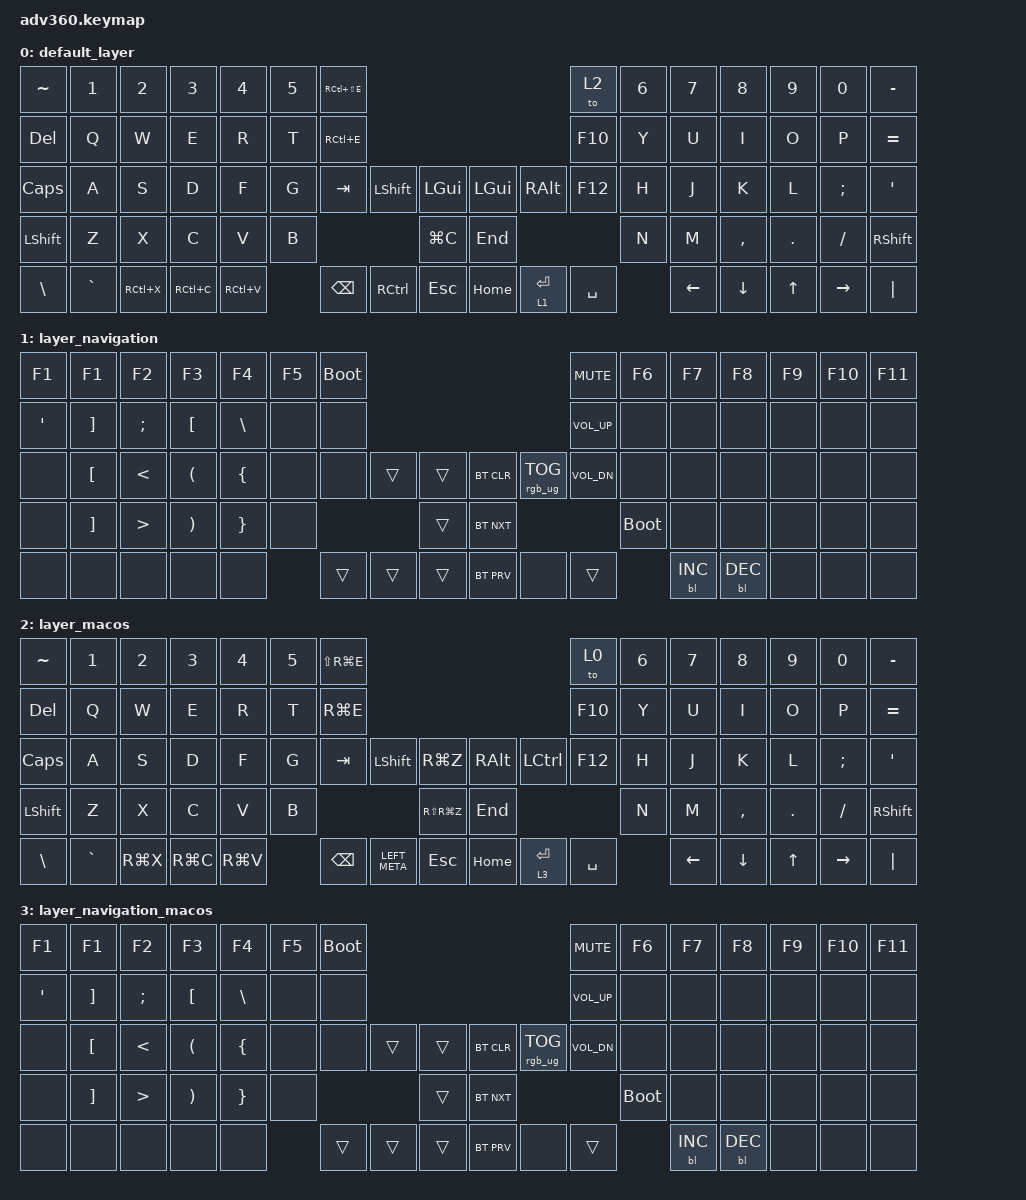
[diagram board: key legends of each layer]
/*
 * Copyright (c) 2020 The ZMK Contributors
 *
 * SPDX-License-Identifier: MIT
 */
/* THIS FILE WAS GENERATED!
 *
 * This file was generated automatically. You may or may not want to
 * edit it directly.
 */

#include <behaviors.dtsi>
#include <dt-bindings/zmk/backlight.h>
#include <dt-bindings/zmk/bt.h>
#include <dt-bindings/zmk/keys.h>
#include <dt-bindings/zmk/rgb.h>

/ {
    behaviors {
        #include "macros.dtsi"
    #include "version.dtsi"

        hm: homerow_mods {
            compatible = "zmk,behavior-hold-tap";
            label = "HOMEROW_MODS";
            #binding-cells = <2>;
            tapping-term-ms = <200>;
            quick_tap_ms = <175>;
            flavor = "tap-preferred";
            bindings = <&kp>, <&kp>;
        };
    };

    keymap {
        compatible = "zmk,keymap";

        default_layer {
            bindings = <
&kp TILDE      &kp N1     &kp N2     &kp N3     &kp N4     &kp N5  &kp RC(LS(E))                                                              &to 2      &kp N6  &kp N7    &kp N8     &kp N9   &kp N0     &kp MINUS
&kp DEL        &kp Q      &kp W      &kp E      &kp R      &kp T   &kp RC(E)                                                                  &kp F10    &kp Y   &kp U     &kp I      &kp O    &kp P      &kp EQUAL
&kp CAPSLOCK   &kp A      &kp S      &kp D      &kp F      &kp G   &kp TAB        &kp LEFT_SHIFT     &kp LGUI        &kp LGUI  &kp RIGHT_ALT  &kp F12    &kp H   &kp J     &kp K      &kp L    &kp SEMI   &kp SQT
&kp LSHFT      &kp Z      &kp X      &kp C      &kp V      &kp B                                     &kp LG(C)       &kp END                             &kp N   &kp M     &kp COMMA  &kp DOT  &kp FSLH   &kp RSHFT
&kp BACKSLASH  &kp GRAVE  &kp RC(X)  &kp RC(C)  &kp RC(V)          &kp BACKSPACE  &kp RIGHT_CONTROL  &kp ESCAPE      &kp HOME  &lt 1 ENTER    &kp SPACE          &kp LEFT  &kp DOWN   &kp UP   &kp RIGHT  &kp PIPE
            >;
        };

        layer_navigation {
            bindings = <
&kp F1   &kp F1             &kp F2            &kp F3                 &kp F4           &kp F5  &bootloader                                                   &kp C_MUTE    &kp F6       &kp F7      &kp F8      &kp F9  &kp F10  &kp F11
&kp SQT  &kp RIGHT_BRACKET  &kp SEMICOLON     &kp LEFT_BRACKET       &kp BACKSLASH    &none   &none                                                         &kp C_VOL_UP  &none        &none       &none       &none   &none    &none
&none    &kp LEFT_BRACKET   &kp LESS_THAN     &kp LEFT_PARENTHESIS   &kp LEFT_BRACE   &none   &none        &trans  &trans      &bt BT_CLR  &rgb_ug RGB_TOG  &kp C_VOL_DN  &none        &none       &none       &none   &none    &none
&none    &kp RIGHT_BRACKET  &kp GREATER_THAN  &kp RIGHT_PARENTHESIS  &kp RIGHT_BRACE  &none                        &trans      &bt BT_NXT                                 &bootloader  &none       &none       &none   &none    &none
&none    &none              &none             &none                  &none                    &trans       &trans  &trans      &bt BT_PRV  &none            &trans                     &bl BL_INC  &bl BL_DEC  &none   &none    &none
            >;
        };

        layer_macos {
            bindings = <
&kp TILDE      &kp N1     &kp N2     &kp N3     &kp N4     &kp N5  &kp LS(RG(E))                                                                      &to 0      &kp N6  &kp N7    &kp N8     &kp N9   &kp N0     &kp MINUS
&kp DEL        &kp Q      &kp W      &kp E      &kp R      &kp T   &kp RG(E)                                                                          &kp F10    &kp Y   &kp U     &kp I      &kp O    &kp P      &kp EQUAL
&kp CAPSLOCK   &kp A      &kp S      &kp D      &kp F      &kp G   &kp TAB        &kp LEFT_SHIFT  &kp RG(Z)            &kp RIGHT_ALT  &kp LEFT_CONTROL  &kp F12    &kp H   &kp J     &kp K      &kp L    &kp SEMI   &kp SQT
&kp LSHFT      &kp Z      &kp X      &kp C      &kp V      &kp B                                  &kp RS(RG(Z))      &kp END                                     &kp N   &kp M     &kp COMMA  &kp DOT  &kp FSLH   &kp RSHFT
&kp BACKSLASH  &kp GRAVE  &kp RG(X)  &kp RG(C)  &kp RG(V)          &kp BACKSPACE  &kp LEFT_META   &kp ESC          &kp HOME       &lt 3 ENTER       &kp SPACE          &kp LEFT  &kp DOWN   &kp UP   &kp RIGHT  &kp PIPE
            >;
        };

        layer_navigation_macos {
            bindings = <
&kp F1   &kp F1             &kp F2            &kp F3                 &kp F4           &kp F5  &bootloader                                                   &kp C_MUTE    &kp F6       &kp F7      &kp F8      &kp F9  &kp F10  &kp F11
&kp SQT  &kp RIGHT_BRACKET  &kp SEMICOLON     &kp LEFT_BRACKET       &kp BACKSLASH    &none   &none                                                         &kp C_VOL_UP  &none        &none       &none       &none   &none    &none
&none    &kp LEFT_BRACKET   &kp LESS_THAN     &kp LEFT_PARENTHESIS   &kp LEFT_BRACE   &none   &none        &trans  &trans      &bt BT_CLR  &rgb_ug RGB_TOG  &kp C_VOL_DN  &none        &none       &none       &none   &none    &none
&none    &kp RIGHT_BRACKET  &kp GREATER_THAN  &kp RIGHT_PARENTHESIS  &kp RIGHT_BRACE  &none                        &trans      &bt BT_NXT                                 &bootloader  &none       &none       &none   &none    &none
&none    &none              &none             &none                  &none                    &trans       &trans  &trans      &bt BT_PRV  &none            &trans                     &bl BL_INC  &bl BL_DEC  &none   &none    &none
            >;
        };
    };
};
